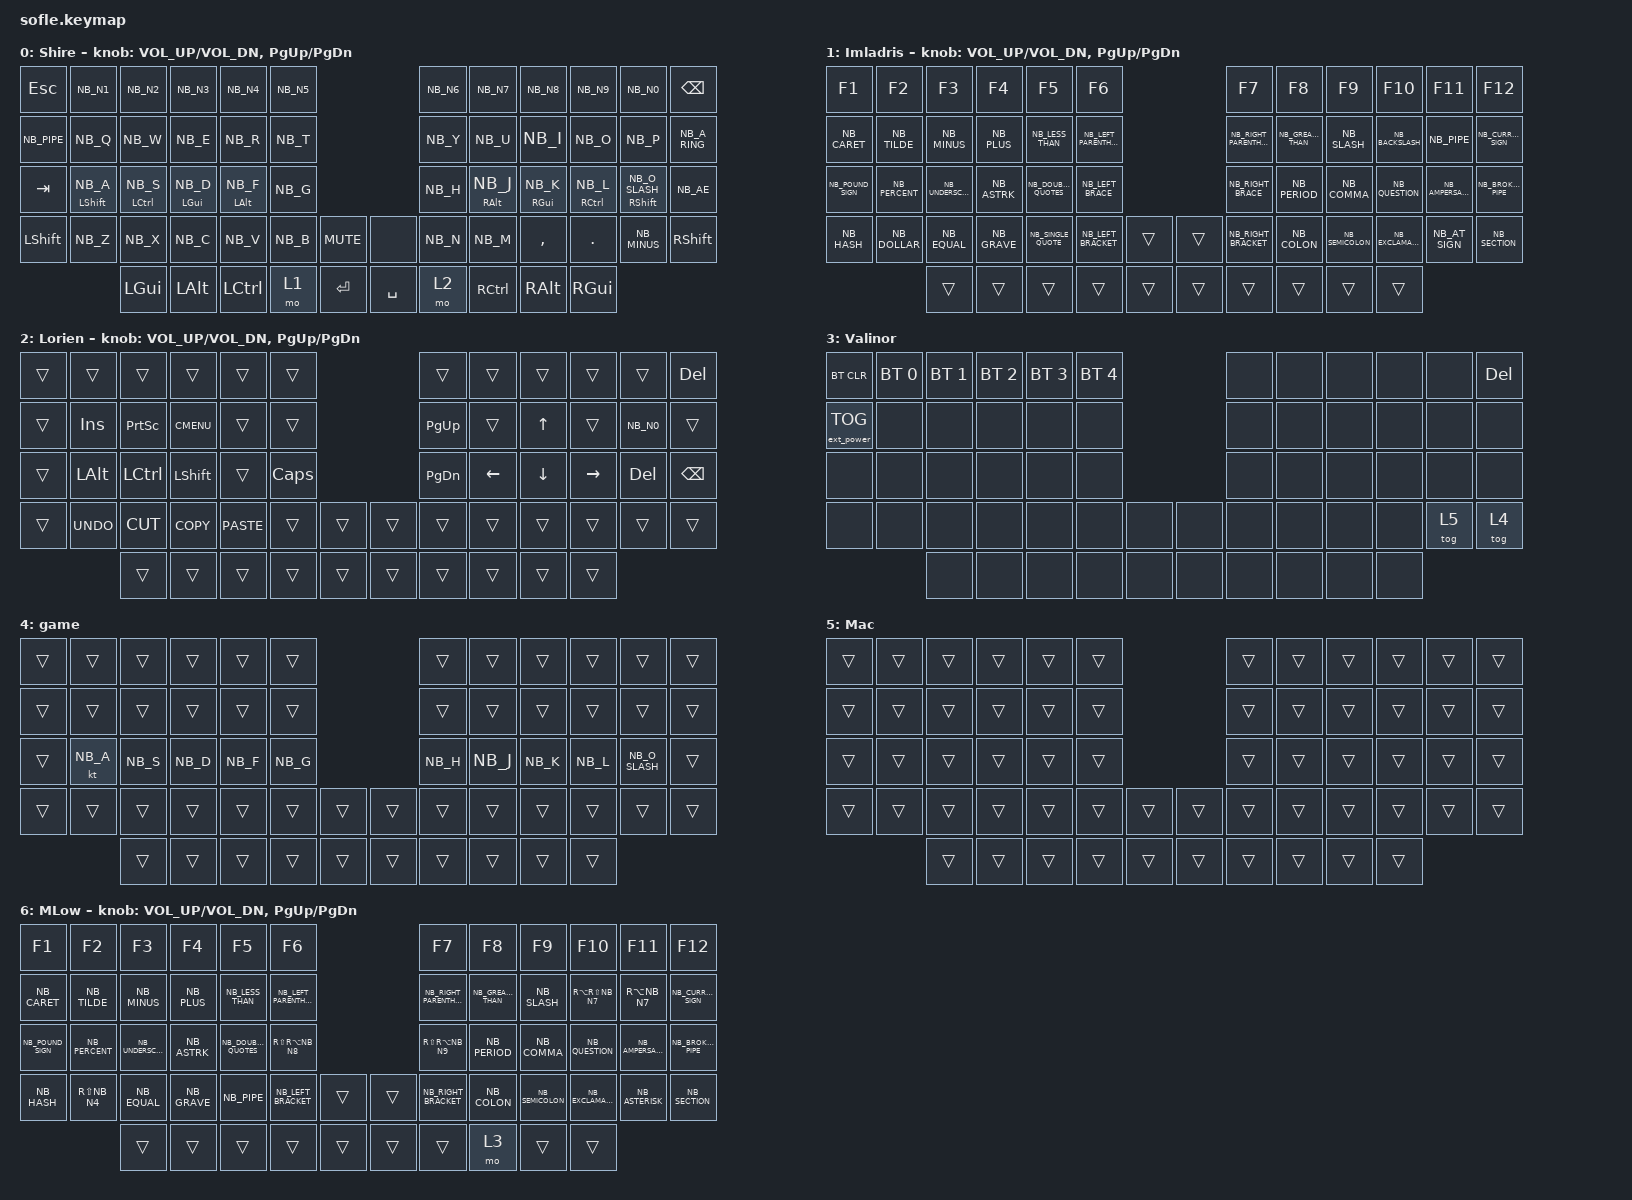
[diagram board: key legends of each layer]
/*
 * Copyright (c) 2020 The ZMK Contributors
 *
 * SPDX-License-Identifier: MIT
 */

#include <behaviors.dtsi>
#include <dt-bindings/zmk/bt.h>
#include <dt-bindings/zmk/ext_power.h>
#include <dt-bindings/zmk/keys.h>
#include "keys_nb.h"

#define BASE 0
#define MOD_L 1
#define MOD_R 2
#define MOD_COMBO_LR 3

&nice_view_spi { cs-gpios = <&pro_micro 4 GPIO_ACTIVE_HIGH>; };

&mt {
    tapping-term-ms = <250>;
    flavor = "tap-preferred";
};

/ {
    // Activate MOD_COMBO_LR layer by pressing raise and lower

    conditional_layers {
        compatible = "zmk,conditional-layers";

        adjust_layer {
            if-layers = <1 2>;
            then-layer = <3>;
        };

        mac_low {
            if-layers = <5 1>;
            then-layer = <6>;
        };

        mac_adjust {
            if-layers = <2 6>;
            then-layer = <3>;
        };
    };

    keymap {
        compatible = "zmk,keymap";

        default_layer {
            display-name = "Shire";
            bindings = <
&kp ESC      &kp NB_N1            &kp NB_N2       &kp NB_N3          &kp NB_N4          &kp NB_N5                           &kp NB_N6  &kp NB_N7           &kp NB_N8           &kp NB_N9       &kp NB_N0                   &kp BACKSPACE
&kp NB_PIPE  &kp NB_Q             &kp NB_W        &kp NB_E           &kp NB_R           &kp NB_T                            &kp NB_Y   &kp NB_U            &kp NB_I            &kp NB_O        &kp NB_P                    &kp NB_A_RING
&kp TAB      &mt LEFT_SHIFT NB_A  &mt LCTRL NB_S  &mt LEFT_GUI NB_D  &mt LEFT_ALT NB_F  &kp NB_G                            &kp NB_H   &mt RIGHT_ALT NB_J  &mt RIGHT_GUI NB_K  &mt RCTRL NB_L  &mt RIGHT_SHIFT NB_O_SLASH  &kp NB_AE
&kp LSHFT    &kp NB_Z             &kp NB_X        &kp NB_C           &kp NB_V           &kp NB_B   &kp C_MUTE    &none      &kp NB_N   &kp NB_M            &kp COMMA           &kp DOT         &kp NB_MINUS                &kp RSHFT
                                  &kp LGUI        &kp LALT           &kp LCTRL          &mo 1      &kp RET       &kp SPACE  &mo 2      &kp RCTRL           &kp RALT            &kp RGUI
            >;

            sensor-bindings = <&inc_dec_kp C_VOL_UP C_VOL_DN &inc_dec_kp PG_UP PG_DN>;
        };

        lower_layer {
            display-name = "Imladris";
            bindings = <
&kp F1             &kp F2          &kp F3             &kp F4        &kp F5                &kp F6                                     &kp F7                    &kp F8               &kp F9            &kp F10             &kp F11           &kp F12
&kp NB_CARET       &kp NB_TILDE    &kp NB_MINUS       &kp NB_PLUS   &kp NB_LESS_THAN      &kp NB_LEFT_PARENTHESIS                    &kp NB_RIGHT_PARENTHESIS  &kp NB_GREATER_THAN  &kp NB_SLASH      &kp NB_BACKSLASH    &kp NB_PIPE       &kp NB_CURRENCY_SIGN
&kp NB_POUND_SIGN  &kp NB_PERCENT  &kp NB_UNDERSCORE  &kp NB_ASTRK  &kp NB_DOUBLE_QUOTES  &kp NB_LEFT_BRACE                          &kp NB_RIGHT_BRACE        &kp NB_PERIOD        &kp NB_COMMA      &kp NB_QUESTION     &kp NB_AMPERSAND  &kp NB_BROKEN_PIPE
&kp NB_HASH        &kp NB_DOLLAR   &kp NB_EQUAL       &kp NB_GRAVE  &kp NB_SINGLE_QUOTE   &kp NB_LEFT_BRACKET      &trans    &trans  &kp NB_RIGHT_BRACKET      &kp NB_COLON         &kp NB_SEMICOLON  &kp NB_EXCLAMATION  &kp NB_AT_SIGN    &kp NB_SECTION
                                   &trans             &trans        &trans                &trans                   &trans    &trans  &trans                    &trans               &trans            &trans
            >;

            sensor-bindings = <&inc_dec_kp C_VOL_UP C_VOL_DN &inc_dec_kp PG_UP PG_DN>;
        };

        raise_layer {
            display-name = "Lorien";
            bindings = <
&trans  &trans      &trans     &trans       &trans       &trans                      &trans     &trans    &trans    &trans     &trans     &kp DEL
&trans  &kp INS     &kp PSCRN  &kp K_CMENU  &trans       &trans                      &kp PG_UP  &trans    &kp UP    &trans     &kp NB_N0  &trans
&trans  &kp LALT    &kp LCTRL  &kp LSHFT    &trans       &kp CLCK                    &kp PG_DN  &kp LEFT  &kp DOWN  &kp RIGHT  &kp DEL    &kp BSPC
&trans  &kp K_UNDO  &kp K_CUT  &kp K_COPY   &kp K_PASTE  &trans    &trans    &trans  &trans     &trans    &trans    &trans     &trans     &trans
                    &trans     &trans       &trans       &trans    &trans    &trans  &trans     &trans    &trans    &trans
            >;

            sensor-bindings = <&inc_dec_kp C_VOL_UP C_VOL_DN &inc_dec_kp PG_UP PG_DN>;
        };

        adjust_layer {
            display-name = "Valinor";
            bindings = <
&bt BT_CLR         &bt BT_SEL 0  &bt BT_SEL 1  &bt BT_SEL 2  &bt BT_SEL 3  &bt BT_SEL 4                  &none  &none  &none  &none  &none   &kp DELETE
&ext_power EP_TOG  &none         &none         &none         &none         &none                         &none  &none  &none  &none  &none   &none
&none              &none         &none         &none         &none         &none                         &none  &none  &none  &none  &none   &none
&none              &none         &none         &none         &none         &none         &none    &none  &none  &none  &none  &none  &tog 5  &tog 4
                                 &none         &none         &none         &none         &none    &none  &none  &none  &none  &none
            >;
        };

        game {
            bindings = <
&trans  &trans    &trans    &trans    &trans    &trans                      &trans    &trans    &trans    &trans    &trans          &trans
&trans  &trans    &trans    &trans    &trans    &trans                      &trans    &trans    &trans    &trans    &trans          &trans
&trans  &kt NB_A  &kp NB_S  &kp NB_D  &kp NB_F  &kp NB_G                    &kp NB_H  &kp NB_J  &kp NB_K  &kp NB_L  &kp NB_O_SLASH  &trans
&trans  &trans    &trans    &trans    &trans    &trans    &trans    &trans  &trans    &trans    &trans    &trans    &trans          &trans
                  &trans    &trans    &trans    &trans    &trans    &trans  &trans    &trans    &trans    &trans
            >;
        };

        mac {
            bindings = <
&trans  &trans  &trans  &trans  &trans  &trans                    &trans  &trans  &trans  &trans  &trans  &trans
&trans  &trans  &trans  &trans  &trans  &trans                    &trans  &trans  &trans  &trans  &trans  &trans
&trans  &trans  &trans  &trans  &trans  &trans                    &trans  &trans  &trans  &trans  &trans  &trans
&trans  &trans  &trans  &trans  &trans  &trans  &trans    &trans  &trans  &trans  &trans  &trans  &trans  &trans
                &trans  &trans  &trans  &trans  &trans    &trans  &trans  &trans  &trans  &trans
            >;

            label = "Mac";
        };

        layer_7 {
            display-name = "MLow";
            bindings = <
&kp F1             &kp F2          &kp F3             &kp F4        &kp F5                &kp F6                                     &kp F7                    &kp F8               &kp F9            &kp F10             &kp F11           &kp F12
&kp NB_CARET       &kp NB_TILDE    &kp NB_MINUS       &kp NB_PLUS   &kp NB_LESS_THAN      &kp NB_LEFT_PARENTHESIS                    &kp NB_RIGHT_PARENTHESIS  &kp NB_GREATER_THAN  &kp NB_SLASH      &kp RA(RS(NB_N7))   &kp RA(NB_N7)     &kp NB_CURRENCY_SIGN
&kp NB_POUND_SIGN  &kp NB_PERCENT  &kp NB_UNDERSCORE  &kp NB_ASTRK  &kp NB_DOUBLE_QUOTES  &kp RS(RA(NB_N8))                          &kp RS(RA(NB_N9))         &kp NB_PERIOD        &kp NB_COMMA      &kp NB_QUESTION     &kp NB_AMPERSAND  &kp NB_BROKEN_PIPE
&kp NB_HASH        &kp RS(NB_N4)   &kp NB_EQUAL       &kp NB_GRAVE  &kp NB_PIPE           &kp NB_LEFT_BRACKET      &trans    &trans  &kp NB_RIGHT_BRACKET      &kp NB_COLON         &kp NB_SEMICOLON  &kp NB_EXCLAMATION  &kp NB_ASTERISK   &kp NB_SECTION
                                   &trans             &trans        &trans                &trans                   &trans    &trans  &trans                    &mo 3                &trans            &trans
            >;

            sensor-bindings =
                <&inc_dec_kp C_VOL_UP C_VOL_DN>,
                <&inc_dec_kp PG_UP PG_DN>;
        };
    };
};
